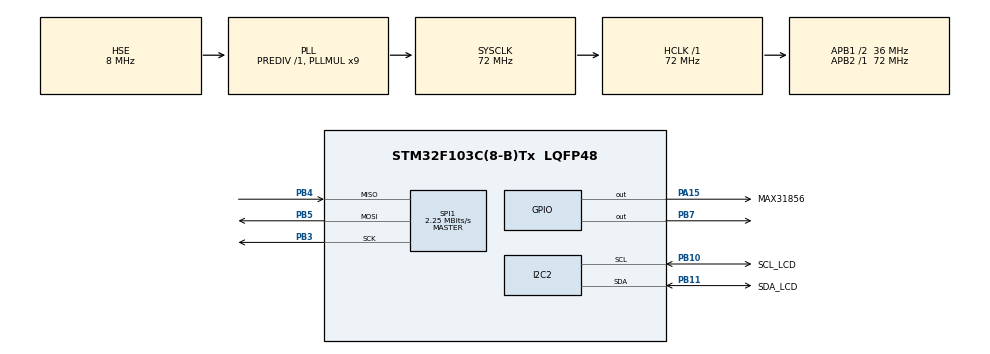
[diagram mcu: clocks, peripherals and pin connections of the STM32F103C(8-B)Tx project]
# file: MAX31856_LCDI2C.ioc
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Mcu.Family=STM32F1
Mcu.Name=STM32F103C(8-B)Tx
Mcu.Package=LQFP48
NVIC.PriorityGroup=NVIC_PRIORITYGROUP_4
PA13.Mode=Serial_Wire
PA13.Signal=SYS_JTMS-SWDIO
PA14.Mode=Serial_Wire
PA14.Signal=SYS_JTCK-SWCLK
PA15.GPIO_Label=MAX31856
PA15.PinState=GPIO_PIN_SET
PA15.Signal=GPIO_Output
PB10.GPIO_Label=SCL_LCD
PB10.Mode=I2C
PB10.Signal=I2C2_SCL
PB11.GPIO_Label=SDA_LCD
PB11.Mode=I2C
PB11.Signal=I2C2_SDA
PB3.Mode=Full_Duplex_Master
PB3.Signal=SPI1_SCK
PB4.Mode=Full_Duplex_Master
PB4.Signal=SPI1_MISO
PB5.Mode=Full_Duplex_Master
PB5.Signal=SPI1_MOSI
PB7.Signal=GPIO_Output
PD0-OSC_IN.Mode=HSE-External-Oscillator
PD0-OSC_IN.Signal=RCC_OSC_IN
PD1-OSC_OUT.Mode=HSE-External-Oscillator
PD1-OSC_OUT.Signal=RCC_OSC_OUT
ProjectManager.HeapSize=0x200
ProjectManager.StackSize=0x400
ProjectManager.TargetToolchain=STM32CubeIDE
RCC.AHBFreq_Value=72000000
RCC.APB1CLKDivider=RCC_HCLK_DIV2
RCC.APB1Freq_Value=36000000
RCC.APB1TimFreq_Value=72000000
RCC.APB2Freq_Value=72000000
RCC.APB2TimFreq_Value=72000000
RCC.HCLKFreq_Value=72000000
RCC.PLLMUL=RCC_PLL_MUL9
RCC.PLLSourceVirtual=RCC_PLLSOURCE_HSE
RCC.SYSCLKFreq_VALUE=72000000
RCC.SYSCLKSource=RCC_SYSCLKSOURCE_PLLCLK
RCC.USBFreq_Value=72000000
SPI1.BaudRatePrescaler=SPI_BAUDRATEPRESCALER_32
SPI1.CLKPhase=SPI_PHASE_2EDGE
SPI1.CalculateBaudRate=2.25 MBits/s
SPI1.Direction=SPI_DIRECTION_2LINES
SPI1.Mode=SPI_MODE_MASTER
SPI1.VirtualType=VM_MASTER
board=custom

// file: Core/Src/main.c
/* USER CODE BEGIN Header */
/**
  ******************************************************************************
  * @file           : main.c
  * @brief          : Main program body
  ******************************************************************************
  * @attention
  *
  * Copyright (c) 2026 STMicroelectronics.
  * All rights reserved.
  *
  * This software is licensed under terms that can be found in the LICENSE file
  * in the root directory of this software component.
  * If no LICENSE file comes with this software, it is provided AS-IS.
  *
  ******************************************************************************
  */
/* USER CODE END Header */
#include "main.h"

/* USER CODE BEGIN Includes */
#include "LiquidCrystal_I2C.h"
#include "MAX31856.h"
#include <stdio.h>
#include <math.h>
/* USER CODE END Includes */

I2C_HandleTypeDef hi2c2;

SPI_HandleTypeDef hspi1;

/* USER CODE BEGIN PV */
MAX31856_HandleTypeDef hmax31856;

// Khai báo các biến quản lý thời gian lập lịch (Scheduling)
uint32_t last_temp_read_time = 0;
uint32_t last_lcd_update_time = 0;

// Khai báo biến lưu trữ dữ liệu toàn cục
float temp_current = 0.0f;
uint8_t fault_status = 0;
/* USER CODE END PV */

void SystemClock_Config(void);
static void MX_GPIO_Init(void);
static void MX_I2C2_Init(void);
static void MX_SPI1_Init(void);

int main(void)
{

  /* MCU Configuration--------------------------------------------------------*/

  /* Reset of all peripherals, Initializes the Flash interface and the Systick. */
  HAL_Init();

  /* Configure the system clock */
  SystemClock_Config();

  /* Initialize all configured peripherals */
  MX_GPIO_Init();
  MX_I2C2_Init();
  MX_SPI1_Init();
  /* USER CODE BEGIN 2 */
  // 1. Init LCD 16x2
    LCDI2C_init(&hi2c2, 0x27, 16, 2);
    LCDI2C_backlight();
    LCDI2C_setCursor(0, 0);
    LCDI2C_printstr("=== MAX31856 ===");

  // 2. Init MAX31856
    MAX31856_Init(&hmax31856, &hspi1, GPIOA, GPIO_PIN_15);

  // 3. Configuration type can nhiet K
    MAX31856_SetConversionMode(&hmax31856, MAX31856_CONTINUOUS);
    MAX31856_SetThermocoupleType(&hmax31856, MAX31856_TCTYPE_S);
    MAX31856_SetNoiseFilter(&hmax31856, MAX31856_NOISE_FILTER_50HZ);
  /* USER CODE END 2 */

  /* Infinite loop */
  /* USER CODE BEGIN WHILE */
    char lcd_buffer[17];
  while (1)
  {
	  HAL_GPIO_WritePin(GPIOB, GPIO_PIN_7, GPIO_PIN_SET);
      uint32_t current_tick = HAL_GetTick();

      /* =========================================================
       * TÁC VỤ 1: ĐỌC CẢM BIẾN TỐC ĐỘ CAO (Chu kỳ 100ms)
       * ========================================================= */
      if (current_tick - last_temp_read_time >= 100)
      {
          last_temp_read_time = current_tick;

          HAL_GPIO_WritePin(GPIOB, GPIO_PIN_7, GPIO_PIN_SET);

          temp_current = MAX31856_ReadThermocoupleTemperature(&hmax31856);
          fault_status = MAX31856_ReadFault(&hmax31856);

          HAL_GPIO_WritePin(GPIOB, GPIO_PIN_7, GPIO_PIN_RESET);
      }

      /* =========================================================
       * TÁC VỤ 2: CẬP NHẬT MÀN HÌNH LCD (Chu kỳ 400ms)
       * ========================================================= */
      if (current_tick - last_lcd_update_time >= 400)
      {
          last_lcd_update_time = current_tick;

          LCDI2C_setCursor(0, 1);

          if (fault_status != 0) {
              if (fault_status & MAX31856_FAULT_OPEN) {
                  snprintf(lcd_buffer, sizeof(lcd_buffer), "Fault: OpenWire ");
              } else {
                  snprintf(lcd_buffer, sizeof(lcd_buffer), "Fault: HW Err%02X", fault_status);
              }
          } else if (isnan(temp_current)) {
              snprintf(lcd_buffer, sizeof(lcd_buffer), "Fault: SPI TimeO");
          } else {
              if (temp_current >= -200.0f && temp_current <= 1300.0f) {
                  snprintf(lcd_buffer, sizeof(lcd_buffer), "Temp: %6.2f %cC ", temp_current, 0xDF);
              } else {
                  snprintf(lcd_buffer, sizeof(lcd_buffer), "Out of Range!   ");
              }
          }

          LCDI2C_printstr(lcd_buffer);
      }
    /* USER CODE END WHILE */

  }
}

void SystemClock_Config(void)
{
  RCC_OscInitTypeDef RCC_OscInitStruct = {0};
  RCC_ClkInitTypeDef RCC_ClkInitStruct = {0};

  /** Initializes the RCC Oscillators according to the specified parameters
  * in the RCC_OscInitTypeDef structure.
  */
  RCC_OscInitStruct.OscillatorType = RCC_OSCILLATORTYPE_HSE;
  RCC_OscInitStruct.HSEState = RCC_HSE_ON;
  RCC_OscInitStruct.HSEPredivValue = RCC_HSE_PREDIV_DIV1;
  RCC_OscInitStruct.HSIState = RCC_HSI_ON;
  RCC_OscInitStruct.PLL.PLLState = RCC_PLL_ON;
  RCC_OscInitStruct.PLL.PLLSource = RCC_PLLSOURCE_HSE;
  RCC_OscInitStruct.PLL.PLLMUL = RCC_PLL_MUL9;
  if (HAL_RCC_OscConfig(&RCC_OscInitStruct) != HAL_OK)
  {
    Error_Handler();
  }

  /** Initializes the CPU, AHB and APB buses clocks
  */
  RCC_ClkInitStruct.ClockType = RCC_CLOCKTYPE_HCLK|RCC_CLOCKTYPE_SYSCLK
                              |RCC_CLOCKTYPE_PCLK1|RCC_CLOCKTYPE_PCLK2;
  RCC_ClkInitStruct.SYSCLKSource = RCC_SYSCLKSOURCE_PLLCLK;
  RCC_ClkInitStruct.AHBCLKDivider = RCC_SYSCLK_DIV1;
  RCC_ClkInitStruct.APB1CLKDivider = RCC_HCLK_DIV2;
  RCC_ClkInitStruct.APB2CLKDivider = RCC_HCLK_DIV1;

  if (HAL_RCC_ClockConfig(&RCC_ClkInitStruct, FLASH_LATENCY_2) != HAL_OK)
  {
    Error_Handler();
  }
}

static void MX_I2C2_Init(void)
{

  hi2c2.Instance = I2C2;
  hi2c2.Init.ClockSpeed = 100000;
  hi2c2.Init.DutyCycle = I2C_DUTYCYCLE_2;
  hi2c2.Init.OwnAddress1 = 0;
  hi2c2.Init.AddressingMode = I2C_ADDRESSINGMODE_7BIT;
  hi2c2.Init.DualAddressMode = I2C_DUALADDRESS_DISABLE;
  hi2c2.Init.OwnAddress2 = 0;
  hi2c2.Init.GeneralCallMode = I2C_GENERALCALL_DISABLE;
  hi2c2.Init.NoStretchMode = I2C_NOSTRETCH_DISABLE;
  if (HAL_I2C_Init(&hi2c2) != HAL_OK)
  {
    Error_Handler();
  }

}

static void MX_SPI1_Init(void)
{

  /* SPI1 parameter configuration*/
  hspi1.Instance = SPI1;
  hspi1.Init.Mode = SPI_MODE_MASTER;
  hspi1.Init.Direction = SPI_DIRECTION_2LINES;
  hspi1.Init.DataSize = SPI_DATASIZE_8BIT;
  hspi1.Init.CLKPolarity = SPI_POLARITY_LOW;
  hspi1.Init.CLKPhase = SPI_PHASE_2EDGE;
  hspi1.Init.NSS = SPI_NSS_SOFT;
  hspi1.Init.BaudRatePrescaler = SPI_BAUDRATEPRESCALER_32;
  hspi1.Init.FirstBit = SPI_FIRSTBIT_MSB;
  hspi1.Init.TIMode = SPI_TIMODE_DISABLE;
  hspi1.Init.CRCCalculation = SPI_CRCCALCULATION_DISABLE;
  hspi1.Init.CRCPolynomial = 10;
  if (HAL_SPI_Init(&hspi1) != HAL_OK)
  {
    Error_Handler();
  }

}

static void MX_GPIO_Init(void)
{
  GPIO_InitTypeDef GPIO_InitStruct = {0};

  /* GPIO Ports Clock Enable */
  __HAL_RCC_GPIOD_CLK_ENABLE();
  __HAL_RCC_GPIOB_CLK_ENABLE();
  __HAL_RCC_GPIOA_CLK_ENABLE();

  /*Configure GPIO pin Output Level */
  HAL_GPIO_WritePin(MAX31856_GPIO_Port, MAX31856_Pin, GPIO_PIN_SET);

  /*Configure GPIO pin Output Level */
  HAL_GPIO_WritePin(GPIOB, GPIO_PIN_7, GPIO_PIN_RESET);

  /*Configure GPIO pin : MAX31856_Pin */
  GPIO_InitStruct.Pin = MAX31856_Pin;
  GPIO_InitStruct.Mode = GPIO_MODE_OUTPUT_PP;
  GPIO_InitStruct.Pull = GPIO_NOPULL;
  GPIO_InitStruct.Speed = GPIO_SPEED_FREQ_LOW;
  HAL_GPIO_Init(MAX31856_GPIO_Port, &GPIO_InitStruct);

  /*Configure GPIO pin : PB7 */
  GPIO_InitStruct.Pin = GPIO_PIN_7;
  GPIO_InitStruct.Mode = GPIO_MODE_OUTPUT_PP;
  GPIO_InitStruct.Pull = GPIO_NOPULL;
  GPIO_InitStruct.Speed = GPIO_SPEED_FREQ_LOW;
  HAL_GPIO_Init(GPIOB, &GPIO_InitStruct);

}

void Error_Handler(void)
{
  __disable_irq();
  while (1)
  {
  }
}
